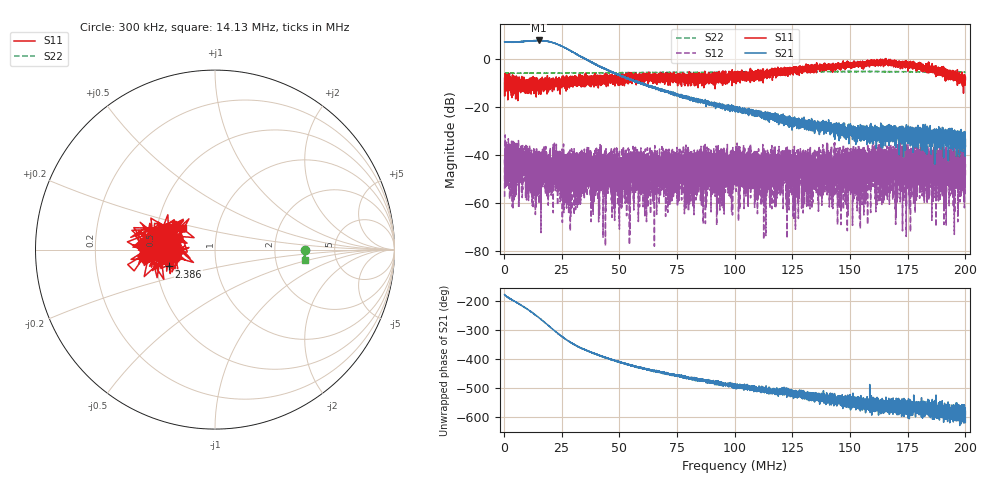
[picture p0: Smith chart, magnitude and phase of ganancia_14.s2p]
# Hz S DB R 50
! CMT, M5065, 19127446, 24.2.4/2
! Date: 10/29/2024 1:09:27 PM
! Data: Format (Calibration Info)
! Freq	S11:dB/Ang(F2)	S21:dB/Ang(F2)	S12:dB/Ang(F2)	S22:dB/Ang(F2)
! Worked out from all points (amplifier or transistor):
!   9000 points, 300 kHz to 200 MHz, reference 50 ohm
!   highest |S21| = 7.6 dB at 15.15 MHz (marker M1)
!   |S21| within 3 dB of that: start of sweep to 26.24 MHz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
!   unconditionally stable (mu >= 1): start of sweep to 165.5 MHz; 165.6 MHz to end of sweep
!   at 33.59 MHz: K = 218.47, MAG = 2.5 dB, |S12| = -57.1 dB
!   at 100.2 MHz: K = 892.52, MAG = -17.9 dB, |S12| = -49.8 dB
!   at 200 MHz: K = 2314.39, MAG = -31.5 dB, |S12| = -43.8 dB
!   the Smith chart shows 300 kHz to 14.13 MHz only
!   S11 on the Smith chart (normalised r, x): 300 kHz: 0.44, -0.06; 2.386 MHz: 0.58, -0.12; 14.13 MHz: 0.68, +0.17
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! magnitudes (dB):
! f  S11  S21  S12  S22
! 300 kHz  -8.1  6.9  -57.4  -6.0
! 1.387 MHz  -10.0  6.9  -40.1  -6.1
! 2.386 MHz  -11.3  6.9  -39.5  -6.0
! 14.13 MHz  -13.4  7.5  -36.9  -6.0
! 15.15 MHz  -11.2  7.6  -42.2  -6.0
! 23.71 MHz  -9.1  5.8  -41.6  -6.0
! 25.8 MHz  -9.9  4.8  -40.8  -5.9
! 33.59 MHz  -9.4  0.7  -57.1  -5.9
! 41.91 MHz  -9.0  -3.4  -53.1  -5.8
! 43.93 MHz  -9.8  -4.2  -44.6  -5.8
! 45.7 MHz  -7.0  -5.2  -43.8  -5.8
! 66.87 MHz  -9.0  -12.6  -46.3  -5.8
! 100.2 MHz  -6.0  -20.5  -49.8  -5.7
! 109.1 MHz  -5.1  -23.9  -50.1  -5.7
! 121.5 MHz  -5.4  -25.2  -50.4  -5.5
! 127.1 MHz  -6.6  -26.7  -50.7  -5.5
! 131.4 MHz  -5.9  -28.0  -50.3  -5.4
! 133.4 MHz  -4.8  -26.1  -44.0  -5.4
! 166.7 MHz  -1.7  -32.7  -40.6  -5.4
! 173 MHz  -1.6  -31.1  -45.0  -5.4
! 175.2 MHz  -2.6  -29.4  -42.7  -5.4
! 200 MHz  -8.7  -33.6  -43.8  -5.5
